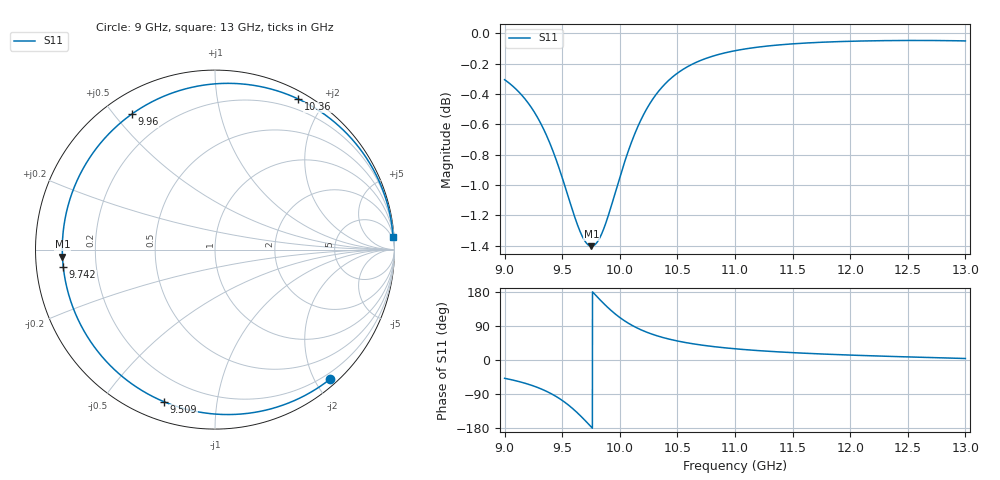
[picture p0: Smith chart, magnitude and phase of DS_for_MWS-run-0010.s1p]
! TOUCHSTONE file generated by CST DESIGN STUDIO
! Date and time: Wed Feb  5 13:43:28 2025
! Project name: C:\Work\MatlabApps\UnitCellOptimizationMatlab\CST\unitcell.cst
! Tree item: Tasks\Sweep1\SPara1\S-Parameters
! Header version: 2024
! Port assignment regex: !\s*Touchstone port\s*([0-9]+)\s*=\s*(CST MWS port|CST DES external port|CST DES block port)\s*(.+)\s* \(\"(.*)\"\)(\s*mode\s*([0-9]+))?.*
! Touchstone port assignment:
! Touchstone port 1 = CST DES external port 1 ("")
# GHz S MA R 50
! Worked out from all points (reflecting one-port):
!   4001 points, 9 GHz to 13 GHz, reference 50 ohm
!   lowest |S11| = -1.4 dB at 9.754 GHz (marker M1), VSWR 12.40, Z = 4.03 - j1.17 ohm
!   phase of S11 starts at -48 deg and turns -308 deg over the sweep
!   S11 on the Smith chart (normalised r, x): 9 GHz: 0.10, -2.23; 9.509 GHz: 0.08, -0.72; 9.742 GHz: 0.08, -0.06; 9.96 GHz: 0.08, +0.56; 10.36 GHz: 0.08, +1.70; 13 GHz: 2, +29
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9  0.9654 -48.3
9.14  0.955 -58.1
9.269  0.9405 -70.5
9.4  0.9185 -88.2
9.453  0.9073 -97.3
9.5  0.8962 -106.6
9.509  0.8941 -108.5
9.566  0.88 -121.8
9.621  0.8671 -136.3
9.686  0.8555 -155.6
9.742  0.8509 -173.4
9.754  0.8508 -177.3
9.798  0.8528 168.5
9.844  0.859 154.0
9.903  0.8714 136.6
9.96  0.8859 121.6
10  0.8964 112.1
10.065  0.9125 98.8
10.14  0.9285 86.0
10.243  0.9457 72.3
10.355  0.9589 61.0
10.5  0.9702 50.2
10.718  0.9802 39.0
11  0.9869 29.6
11.5  0.9921 19.4
12  0.994 13.0
12.5  0.9946 8.1
13  0.9943 4.0
